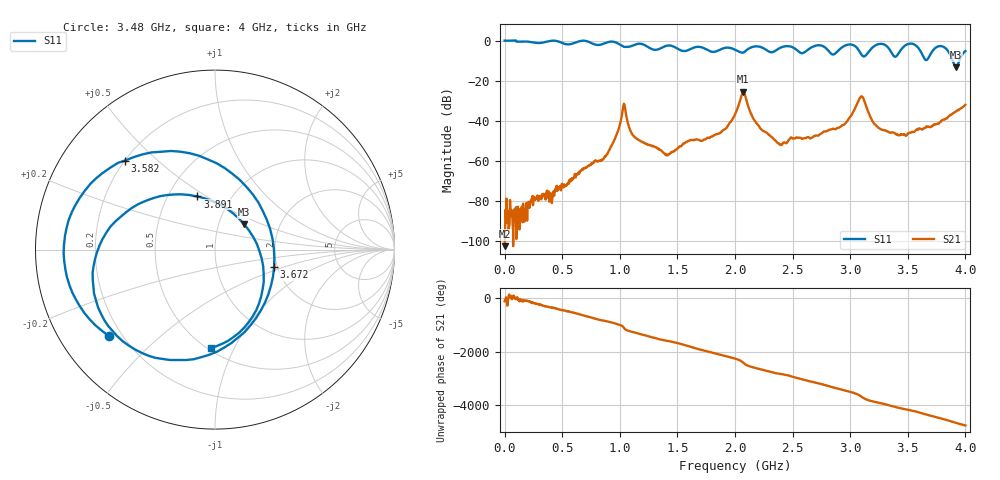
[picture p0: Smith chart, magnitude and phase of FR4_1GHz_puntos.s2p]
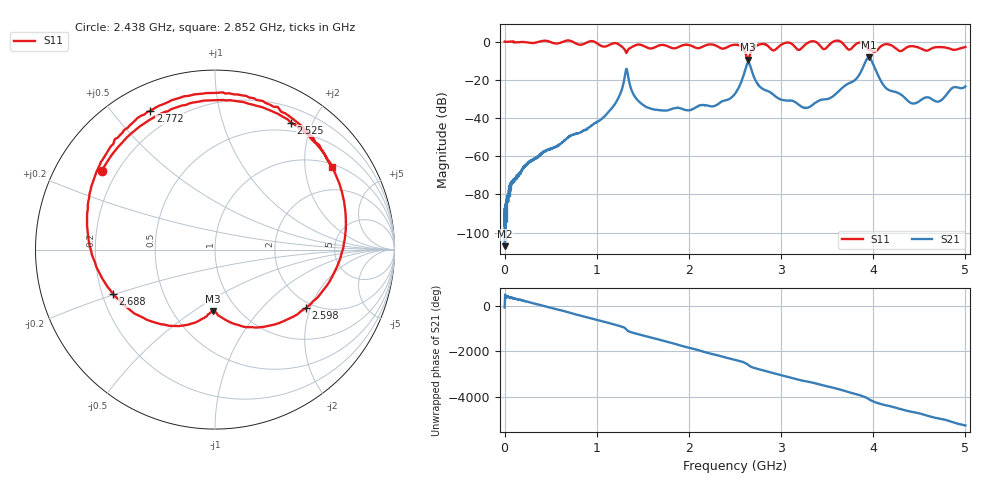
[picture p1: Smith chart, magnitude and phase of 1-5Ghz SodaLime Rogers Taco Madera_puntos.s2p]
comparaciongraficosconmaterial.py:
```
import skrf as rf
import matplotlib.pyplot as plt

# --- CARGAR ARCHIVOS S2P ---
try:
    ntwk_rogers_medido = rf.Network('Rogers_1-5GHz_puntos.s2p')
except FileNotFoundError:
    print("ERROR: No se encontró 'Rogers_1GHz_puntos.s2p'.")
    exit()

try:
    ntwk_fr4_medido = rf.Network('FR4_1-5GHz_puntos.s2p')
except FileNotFoundError:
    print("ERROR: No se encontró 'FR4_1GHz_puntos.s2p'.")
    exit()

try:
    ntwk_rogers_simulado = rf.Network('1-5Ghz SodaLime Rogers Taco Madera_puntos.s2p')
except FileNotFoundError:
    print("ERROR: No se encontró 'S21-Rogers-1G.s2p'.")
    exit()

try:
    ntwk_fr4_simulado = rf.Network('1-5Ghz SodaLime FR4 Taco Madera_puntos.s2p')
except FileNotFoundError:
    print("ERROR: No se encontró 'S21-FR4-1G.s2p'.")
    exit()

print("Archivos cargados exitosamente.")

# --- Graficar ---
fig, ax = plt.subplots(1, 2, figsize=(14, 6))

# --- ROGERS ---
ntwk_rogers_medido.plot_s_db(m=1, n=0, ax=ax[0], label='Medido', color='tab:blue')
ntwk_rogers_simulado.plot_s_db(m=1, n=0, ax=ax[0], label='Con SodaLime encima', color='tab:orange', linestyle='--')
ax[0].set_xlim(0, 5e9)
ax[0].set_title('ROGERS 4350B $|S_{21}|$')
ax[0].set_xlabel('Frecuencia (Hz)')
ax[0].set_ylabel('Magnitud (dB)')
ax[0].grid(True, which="both", ls="--", alpha=0.6)
ax[0].legend()

# --- FR4 ---
ntwk_fr4_medido.plot_s_db(m=1, n=0, ax=ax[1], label='Medido', color='tab:blue')
ntwk_fr4_simulado.plot_s_db(m=1, n=0, ax=ax[1], label='Con SodaLime encima', color='tab:orange', linestyle='--')
ax[1].set_xlim(0, 5e9)
ax[1].set_title('FR4 $|S_{21}|$')
ax[1].set_xlabel('Frecuencia (Hz)')
ax[1].set_ylabel('Magnitud (dB)')
ax[1].grid(True, which="both", ls="--", alpha=0.6)
ax[1].legend()

# --- Título general ---
plt.suptitle('Comparación de Parámetros $|S_{21}|$ a 1GHZ (Transmisión)')
plt.tight_layout(rect=[0, 0, 1, 0.96])
plt.show()
```
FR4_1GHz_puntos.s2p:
! NanoVNA-App
! Date: 2025-10-01 20:01:10
! Start: 10kHz Stop: 4GHz Points: 1024
! S-Parameter data: F S11 S21 S12 S22
# Hz S RI R 50
!  Frequency  S11_Real  S11_Imag  S21_Real  S21_Imag  S12_Real  S12_Imag  S22_Real  S22_Imag
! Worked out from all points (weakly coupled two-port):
!   1024 points, 10 kHz to 4 GHz, reference 50 ohm
!   highest |S21| = -25.56 dB at 2.072 GHz (marker M1); lowest = -102.8 dB at 10 kHz (marker M2)
!   lowest |S11| = -13.3 dB at 3.918 GHz (marker M3), VSWR 1.55, Z = 66.2 + j19.5 ohm
!   |S11| at or under -10 dB: 3.89 GHz to 3.948 GHz (57.77 MHz wide, 1.47 % of centre)
!   S12 and S22 are empty: the file has one direction only
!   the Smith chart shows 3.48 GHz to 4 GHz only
!   S11 on the Smith chart (normalised r, x): 3.48 GHz: 0.15, -0.35; 3.582 GHz: 0.20, +0.40; 3.672 GHz: 1.92, -0.42; 3.891 GHz: 0.70, +0.46; 4 GHz: 0.52, -0.81
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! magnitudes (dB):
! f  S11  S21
! 10 kHz  0.0  -102.8
! 1.036 GHz  -3.1  -31.6
! 1.415 GHz  -2.5  -57.0
! 2.002 GHz  -4.6  -36.7
! 2.072 GHz  -6.0  -25.6
! 3.48 GHz  -2.3  -47.4
! 3.582 GHz  -3.0  -44.6
! 3.672 GHz  -9.3  -43.0
! 3.891 GHz  -10.1  -36.5
! 3.918 GHz  -13.3  -35.4
! 4 GHz  -5.2  -32.1
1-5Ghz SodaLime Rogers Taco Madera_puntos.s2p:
! NanoVNA-App
! Date: 2025-10-30 21:05:56
! Start: 10kHz Stop: 5GHz Points: 3201
! S-Parameter data: F S11 S21 S12 S22
# Hz S RI R 50
!  Frequency  S11_Real  S11_Imag  S21_Real  S21_Imag  S12_Real  S12_Imag  S22_Real  S22_Imag
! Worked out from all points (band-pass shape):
!   3201 points, 10 kHz to 5 GHz, reference 50 ohm
!   highest |S21| = -8.09 dB at 3.952 GHz (marker M1); lowest = -107.1 dB at 10 kHz (marker M2)
!   |S21| within 3 dB of the highest: 2.637 GHz to 2.651 GHz (13.53 MHz wide, 0.512 % of centre); 3.91 GHz to 3.993 GHz (82.63 MHz wide, 2.09 % of centre)
!   lowest |S11| = -9.3 dB at 2.641 GHz (marker M3), VSWR 2.04, Z = 38.7 - j30 ohm
!   |S11| at or under -10 dB: nowhere
!   S12 and S22 are empty: the file has one direction only
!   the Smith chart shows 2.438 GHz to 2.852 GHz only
!   S11 on the Smith chart (normalised r, x): 2.438 GHz: 0.14, +0.31; 2.525 GHz: 0.39, +1.70; 2.598 GHz: 1.82, -1.86; 2.688 GHz: 0.24, -0.20; 2.772 GHz: 0.11, +0.63; 2.852 GHz: 1.09, +2.75
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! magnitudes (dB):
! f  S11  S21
! 10 kHz  0.0  -107.1
! 2.438 GHz  -2.3  -30.0
! 2.5 GHz  -1.6  -27.3
! 2.525 GHz  -1.7  -25.5
! 2.598 GHz  -4.4  -16.7
! 2.641 GHz  -9.3  -10.9
! 2.688 GHz  -4.1  -16.0
! 2.772 GHz  -1.4  -23.7
! 2.852 GHz  -2.0  -25.7
! 3.952 GHz  -4.2  -8.1
! 5 GHz  -2.8  -23.4
